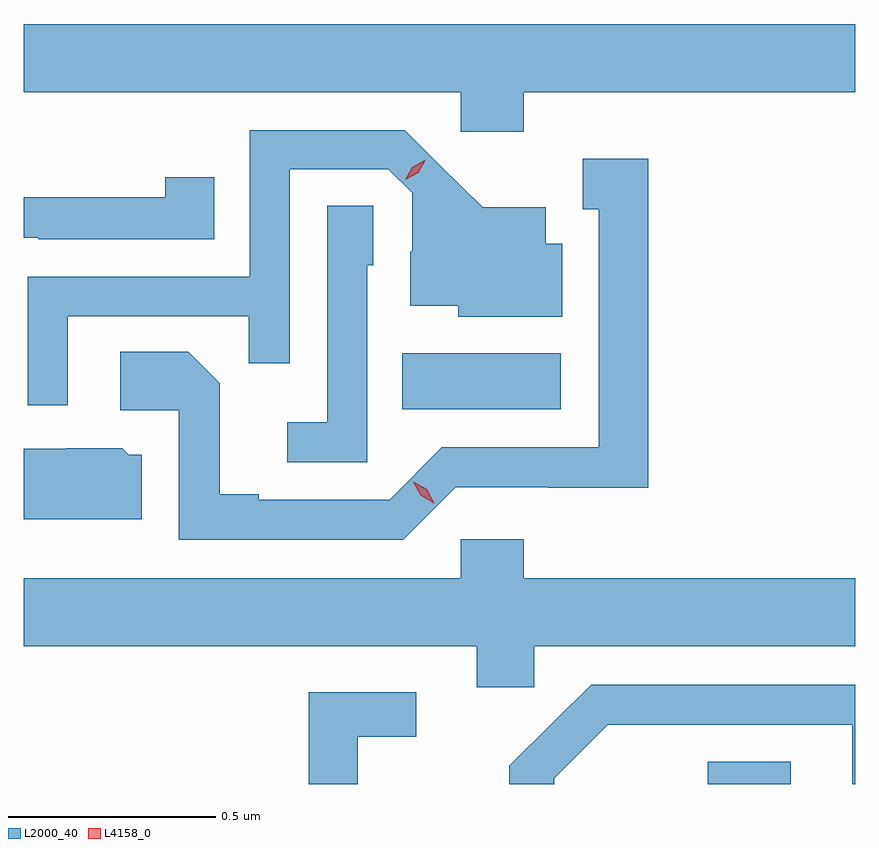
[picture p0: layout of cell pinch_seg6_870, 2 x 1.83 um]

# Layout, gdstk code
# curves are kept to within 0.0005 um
import gdstk
lib = gdstk.Library(unit=1e-6, precision=1e-09)
def R(c, l, rs):  # rectangles x0, y0, x1, y1
    for r in rs: c.add(gdstk.rectangle(r[:2], r[2:], *l))
def P(c, l, *ps):  # polygons
    for p in ps: c.add(gdstk.Polygon(p, *l))
L2000_40 = (2000, 40)
L4158_0 = (4158, 0)

pinch_seg6_870 = lib.new_cell('pinch_seg6_870')
R(pinch_seg6_870, L2000_40, [(148.758,978.973,148.957,979.026), (148.024,979.874,148.405,980.008)])
P(pinch_seg6_870, L2000_40, [(148.316,980.636),(149.113,980.636),(149.113,980.8),(147.113,980.8),(147.113,980.636),(148.164,980.636),(148.164,980.541),(148.316,980.541)],
  [(147.219,980.097),(147.655,980.097),(147.655,979.984),(147.753,979.984),(147.753,980.451),(147.99,980.451),(148.047,980.394),(148.047,980.252),(148.043,980.252),(148.043,980.123),(148.158,980.123),(148.158,980.096),(148.408,980.096),(148.408,980.272),(148.369,980.272),(148.369,980.359),(148.217,980.359),(148.03,980.544),(147.657,980.544),(147.657,980.193),(147.123,980.193),(147.123,979.884),(147.219,979.884)],
  [(148.152,979.686),(148.374,979.686),(148.374,979.685),(148.615,979.685),(148.615,980.476),(148.457,980.476),(148.457,980.355),(148.496,980.355),(148.496,979.782),(148.119,979.782),(147.993,979.656),(147.679,979.656),(147.679,979.669),(147.585,979.669),(147.585,979.936),(147.509,980.012),(147.345,980.012),(147.345,979.872),(147.486,979.872),(147.486,979.56),(148.026,979.56)],
  [(147.572,980.431),(147.454,980.431),(147.454,980.384),(147.113,980.384),(147.113,980.286),(147.148,980.286),(147.148,980.283),(147.572,980.283)],
  [(147.939,980.22),(147.954,980.22),(147.954,980.363),(147.843,980.363),(147.843,979.843),(147.747,979.843),(147.747,979.746),(147.939,979.746)],
  [(147.397,979.764),(147.366,979.764),(147.35,979.78),(147.216,979.78),(147.216,979.779),(147.113,979.779),(147.113,979.61),(147.397,979.61)],
  [(148.341,979.304),(149.113,979.304),(149.113,979.468),(148.316,979.468),(148.316,979.561),(148.164,979.561),(148.164,979.468),(147.113,979.468),(147.113,979.304),(148.202,979.304),(148.202,979.206),(148.341,979.206)],
  [(148.389,978.987),(148.518,979.116),(149.105,979.116),(149.105,978.973),(149.113,978.973),(149.113,979.212),(148.478,979.212),(148.387,979.121),(148.386,979.122),(148.281,979.017),(148.281,978.973),(148.389,978.973)],
  [(147.917,979.086),(148.057,979.086),(148.057,979.194),(147.799,979.194),(147.799,978.973),(147.917,978.973)])
P(pinch_seg6_870, L4158_0, [(148.099,979.648),(148.068,979.667),(148.05,979.699),(148.05,979.7),(148.05,979.7),(148.082,979.681),(148.1,979.648),(148.1,979.648)],
  [(148.031,980.426),(148.031,980.426),(148.048,980.456),(148.078,980.472),(148.079,980.472),(148.079,980.472),(148.062,980.442),(148.031,980.426)])

lib.write_gds('pinch_seg6_870.gds')
